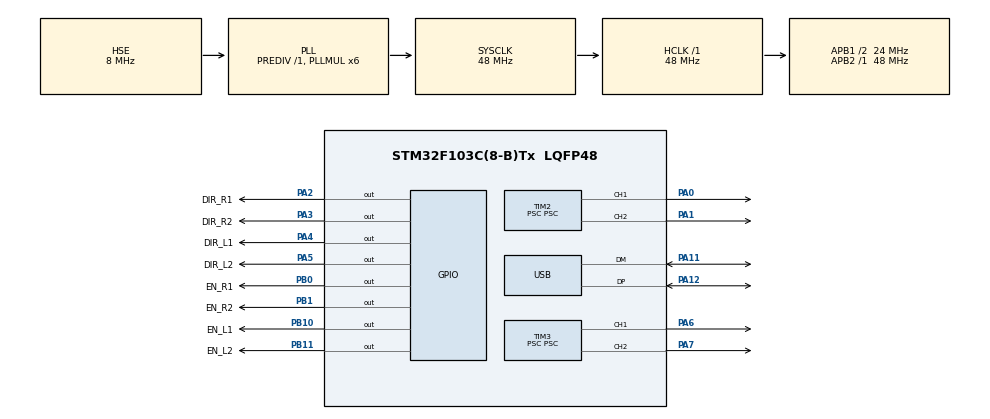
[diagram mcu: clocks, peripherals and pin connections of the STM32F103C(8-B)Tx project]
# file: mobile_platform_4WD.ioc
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Mcu.Family=STM32F1
Mcu.Name=STM32F103C(8-B)Tx
Mcu.Package=LQFP48
Mcu.UserConstants=PSC,4799;ARR_2,1499;ARR_3,1499
NVIC.PriorityGroup=NVIC_PRIORITYGROUP_4
NVIC.USB_LP_CAN1_RX0_IRQn=true\:0\:0\:false\:false\:true\:false\:true\:true
PA0-WKUP.Signal=S_TIM2_CH1_ETR
PA1.Signal=S_TIM2_CH2
PA11.Mode=Device
PA11.Signal=USB_DM
PA12.Mode=Device
PA12.Signal=USB_DP
PA13.Mode=Serial_Wire
PA13.Signal=SYS_JTMS-SWDIO
PA14.Mode=Serial_Wire
PA14.Signal=SYS_JTCK-SWCLK
PA2.GPIO_Label=DIR_R1
PA2.Signal=GPIO_Output
PA3.GPIO_Label=DIR_R2
PA3.Signal=GPIO_Output
PA4.GPIO_Label=DIR_L1
PA4.Signal=GPIO_Output
PA5.GPIO_Label=DIR_L2
PA5.Signal=GPIO_Output
PA6.Signal=S_TIM3_CH1
PA7.Signal=S_TIM3_CH2
PB0.GPIO_Label=EN_R1
PB0.PinState=GPIO_PIN_SET
PB0.Signal=GPIO_Output
PB1.GPIO_Label=EN_R2
PB1.PinState=GPIO_PIN_SET
PB1.Signal=GPIO_Output
PB10.GPIO_Label=EN_L1
PB10.PinState=GPIO_PIN_SET
PB10.Signal=GPIO_Output
PB11.GPIO_Label=EN_L2
PB11.PinState=GPIO_PIN_SET
PB11.Signal=GPIO_Output
PD0-OSC_IN.Mode=HSE-External-Oscillator
PD0-OSC_IN.Signal=RCC_OSC_IN
PD1-OSC_OUT.Mode=HSE-External-Oscillator
PD1-OSC_OUT.Signal=RCC_OSC_OUT
ProjectManager.HeapSize=0x200
ProjectManager.StackSize=0x400
ProjectManager.TargetToolchain=STM32CubeIDE
RCC.AHBFreq_Value=48000000
RCC.APB1CLKDivider=RCC_HCLK_DIV2
RCC.APB1Freq_Value=24000000
RCC.APB1TimFreq_Value=48000000
RCC.APB2Freq_Value=48000000
RCC.APB2TimFreq_Value=48000000
RCC.HCLKFreq_Value=48000000
RCC.PLLMUL=RCC_PLL_MUL6
RCC.PLLSourceVirtual=RCC_PLLSOURCE_HSE
RCC.SYSCLKFreq_VALUE=48000000
RCC.SYSCLKSource=RCC_SYSCLKSOURCE_PLLCLK
RCC.USBFreq_Value=48000000
SH.S_TIM2_CH1_ETR.0=TIM2_CH1,Output Compare1 CH1
SH.S_TIM2_CH2.0=TIM2_CH2,Output Compare2 CH2
SH.S_TIM3_CH1.0=TIM3_CH1,Output Compare1 CH1
SH.S_TIM3_CH2.0=TIM3_CH2,Output Compare2 CH2
TIM2.AutoReloadPreload=TIM_AUTORELOAD_PRELOAD_ENABLE
TIM2.Channel-Output\ Compare1\ CH1=TIM_CHANNEL_1
TIM2.Channel-Output\ Compare2\ CH2=TIM_CHANNEL_2
TIM2.OCPolarity_1=TIM_OCPOLARITY_LOW
TIM2.OCPolarity_2=TIM_OCPOLARITY_LOW
TIM2.Period=ARR_2
TIM2.Prescaler=PSC
TIM3.AutoReloadPreload=TIM_AUTORELOAD_PRELOAD_ENABLE
TIM3.Channel-Output\ Compare1\ CH1=TIM_CHANNEL_1
TIM3.Channel-Output\ Compare2\ CH2=TIM_CHANNEL_2
TIM3.OCPolarity_1=TIM_OCPOLARITY_LOW
TIM3.OCPolarity_2=TIM_OCPOLARITY_LOW
TIM3.Period=ARR_3
TIM3.Prescaler=PSC
USB_DEVICE.CLASS_NAME_FS=CUSTOM_HID
USB_DEVICE.PID_CUSTOMHID_FS=22349
USB_DEVICE.PRODUCT_STRING_CUSTOMHID_FS=STM32_vendor
USB_DEVICE.USBD_CUSTOMHID_OUTREPORT_BUF_SIZE=8
USB_DEVICE.USBD_CUSTOM_HID_REPORT_DESC_SIZE=20
USB_DEVICE.VID=1149
USB_DEVICE.VirtualMode=CustomHid
USB_DEVICE.VirtualModeFS=Custom_Hid_FS
VP_USB_DEVICE_VS_USB_DEVICE_CUSTOM_HID_FS.Mode=CUSTOM_HID_FS
board=custom

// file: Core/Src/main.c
/* USER CODE BEGIN Header */
/**
 ******************************************************************************
 * @file           : main.c
 * @brief          : Main program body
 ******************************************************************************
 * @attention
 *
 * Copyright (c) 2024 STMicroelectronics.
 * All rights reserved.
 *
 * This software is licensed under terms that can be found in the LICENSE file
 * in the root directory of this software component.
 * If no LICENSE file comes with this software, it is provided AS-IS.
 *
 ******************************************************************************
 */
/* USER CODE END Header */
#include "main.h"
#include "usb_device.h"

/* USER CODE BEGIN Includes */
#include <stdbool.h>
#include "usbd_customhid.h"
/* USER CODE END Includes */

TIM_HandleTypeDef htim2;
TIM_HandleTypeDef htim3;

/* USER CODE BEGIN PV */
int16_t leftX;
int16_t leftY;
int16_t rightX;
int16_t rightY;
extern volatile uint8_t dataToReceive[8];
extern volatile bool isReceived;

// Направление движения, двигатели на каждой стороне объединены
// Левая сторона, по умолчанию движение вперёд
bool dirLeft = true;
// Правая сторона, по умолчанию движение вперёд
bool dirRight = true;

uint16_t new_arr;
/* USER CODE END PV */

void SystemClock_Config(void);
static void MX_GPIO_Init(void);
static void MX_TIM3_Init(void);
static void MX_TIM2_Init(void);

int main(void)
{

  /* MCU Configuration--------------------------------------------------------*/

  /* Reset of all peripherals, Initializes the Flash interface and the Systick. */
  HAL_Init();

  /* Configure the system clock */
  SystemClock_Config();

  /* Initialize all configured peripherals */
  MX_GPIO_Init();
  MX_TIM3_Init();
  MX_TIM2_Init();
  MX_USB_DEVICE_Init();
  /* USER CODE BEGIN 2 */
  HAL_TIM_OC_Start(&htim2, TIM_CHANNEL_1);
  HAL_TIM_OC_Start(&htim2, TIM_CHANNEL_2);
  HAL_TIM_OC_Start(&htim3, TIM_CHANNEL_1);
  HAL_TIM_OC_Start(&htim3, TIM_CHANNEL_2);
  /* USER CODE END 2 */

  /* Infinite loop */
  /* USER CODE BEGIN WHILE */
  while (1) {
    if (isReceived) {
      isReceived = false;
      // Преобразуем полученные значения, нам нужны только
      // leftY - движение вперёд/назад и rightX - поворот влево/вправо
      leftX = ((int16_t) dataToReceive[0] << 8) + dataToReceive[1];
      leftY = ((int16_t) dataToReceive[2] << 8) + dataToReceive[3];
      rightX = ((int16_t) dataToReceive[4] << 8) + dataToReceive[5];
      rightY = ((int16_t) dataToReceive[6] << 8) + dataToReceive[7];

      if (leftY > 500 || leftY < -500 || rightX > 500 || rightX < -500) {
        // Включаем двигатели, если любое из переданных значений, по модулю, больше 500
        HAL_GPIO_WritePin(GPIOB, EN_L1_Pin | EN_R1_Pin | EN_L2_Pin | EN_R2_Pin, GPIO_PIN_RESET);
      } else {
        // Отключаем двигатели, если стики в мёртвой зоне
        HAL_GPIO_WritePin(GPIOB, EN_L1_Pin | EN_R1_Pin | EN_L2_Pin | EN_R2_Pin, GPIO_PIN_SET);
      }

      if (leftY > 500) {
        // Обрабатываем движение вперёд
        if (!dirLeft || !dirRight) {
          dirLeft = true;
          dirRight = true;
          // Все четыре двигателя, направление - вперёд
          HAL_GPIO_WritePin(GPIOA, DIR_L1_Pin | DIR_R1_Pin | DIR_L2_Pin | DIR_R2_Pin, GPIO_PIN_SET);
        }
        // Чтобы выровнять скорость, для расчётов берём ARR таймера TIM2
        new_arr = ARR_2 - ((leftY - 500) >> 4);
        TIM2->ARR = new_arr;
        TIM3->ARR = new_arr;
      }

      if (leftY < -500) {
        // Обрабатываем движение назад
        if (dirLeft || dirRight) {
          dirLeft = false;
          dirRight = false;
          // Все четыре двигателя, направление - назад
          HAL_GPIO_WritePin(GPIOA, DIR_L1_Pin | DIR_R1_Pin | DIR_L2_Pin | DIR_R2_Pin, GPIO_PIN_RESET);
        }
        // Чтобы выровнять скорость, для расчётов берём ARR таймера TIM2
        new_arr = ARR_2 + ((leftY + 500) >> 4);
        TIM2->ARR = new_arr;
        TIM3->ARR = new_arr;
      }

      if (rightX > 500) {
        // Обрабатываем движение вправо
        if (!(dirLeft && !dirRight)) {
          dirLeft = true;
          dirRight = false;
          // Двигатели на левой стороне, направление - вперёд
          HAL_GPIO_WritePin(GPIOA, DIR_L1_Pin | DIR_L2_Pin, GPIO_PIN_SET);
          // Двигатели на правой стороне, направление - назад
          HAL_GPIO_WritePin(GPIOA, DIR_R1_Pin | DIR_R2_Pin, GPIO_PIN_RESET);
        }
        // Чтобы выровнять скорость, для расчётов берём ARR таймера TIM2
        new_arr = ARR_2 - ((rightX - 500) >> 4);
        TIM2->ARR = new_arr;
        TIM3->ARR = new_arr;
      }

      if (rightX < -500) {
        // Обрабатываем движение влево
        if (!(!dirLeft && dirRight)) {
          dirLeft = false;
          dirRight = true;
          // Двигатели на левой стороне, направление - назад
          HAL_GPIO_WritePin(GPIOA, DIR_L1_Pin | DIR_L2_Pin, GPIO_PIN_RESET);
          // Двигатели на правой стороне, направление - вперёд
          HAL_GPIO_WritePin(GPIOA, DIR_R1_Pin | DIR_R2_Pin, GPIO_PIN_SET);
        }
        // Чтобы выровнять скорость, для расчётов берём ARR таймера TIM2
        new_arr = ARR_2 + ((rightX + 500) >> 4);
        TIM2->ARR = new_arr;
        TIM3->ARR = new_arr;
      }
    }
    /* USER CODE END WHILE */

  }
}

void SystemClock_Config(void)
{
  RCC_OscInitTypeDef RCC_OscInitStruct = {0};
  RCC_ClkInitTypeDef RCC_ClkInitStruct = {0};
  RCC_PeriphCLKInitTypeDef PeriphClkInit = {0};

  /** Initializes the RCC Oscillators according to the specified parameters
  * in the RCC_OscInitTypeDef structure.
  */
  RCC_OscInitStruct.OscillatorType = RCC_OSCILLATORTYPE_HSE;
  RCC_OscInitStruct.HSEState = RCC_HSE_ON;
  RCC_OscInitStruct.HSEPredivValue = RCC_HSE_PREDIV_DIV1;
  RCC_OscInitStruct.HSIState = RCC_HSI_ON;
  RCC_OscInitStruct.PLL.PLLState = RCC_PLL_ON;
  RCC_OscInitStruct.PLL.PLLSource = RCC_PLLSOURCE_HSE;
  RCC_OscInitStruct.PLL.PLLMUL = RCC_PLL_MUL6;
  if (HAL_RCC_OscConfig(&RCC_OscInitStruct) != HAL_OK)
  {
    Error_Handler();
  }

  /** Initializes the CPU, AHB and APB buses clocks
  */
  RCC_ClkInitStruct.ClockType = RCC_CLOCKTYPE_HCLK|RCC_CLOCKTYPE_SYSCLK
                              |RCC_CLOCKTYPE_PCLK1|RCC_CLOCKTYPE_PCLK2;
  RCC_ClkInitStruct.SYSCLKSource = RCC_SYSCLKSOURCE_PLLCLK;
  RCC_ClkInitStruct.AHBCLKDivider = RCC_SYSCLK_DIV1;
  RCC_ClkInitStruct.APB1CLKDivider = RCC_HCLK_DIV2;
  RCC_ClkInitStruct.APB2CLKDivider = RCC_HCLK_DIV1;

  if (HAL_RCC_ClockConfig(&RCC_ClkInitStruct, FLASH_LATENCY_1) != HAL_OK)
  {
    Error_Handler();
  }
  PeriphClkInit.PeriphClockSelection = RCC_PERIPHCLK_USB;
  PeriphClkInit.UsbClockSelection = RCC_USBCLKSOURCE_PLL;
  if (HAL_RCCEx_PeriphCLKConfig(&PeriphClkInit) != HAL_OK)
  {
    Error_Handler();
  }
}

static void MX_TIM2_Init(void)
{

  TIM_MasterConfigTypeDef sMasterConfig = {0};
  TIM_OC_InitTypeDef sConfigOC = {0};

  htim2.Instance = TIM2;
  htim2.Init.Prescaler = PSC;
  htim2.Init.CounterMode = TIM_COUNTERMODE_UP;
  htim2.Init.Period = ARR_2;
  htim2.Init.ClockDivision = TIM_CLOCKDIVISION_DIV1;
  htim2.Init.AutoReloadPreload = TIM_AUTORELOAD_PRELOAD_ENABLE;
  if (HAL_TIM_OC_Init(&htim2) != HAL_OK)
  {
    Error_Handler();
  }
  sMasterConfig.MasterOutputTrigger = TIM_TRGO_RESET;
  sMasterConfig.MasterSlaveMode = TIM_MASTERSLAVEMODE_DISABLE;
  if (HAL_TIMEx_MasterConfigSynchronization(&htim2, &sMasterConfig) != HAL_OK)
  {
    Error_Handler();
  }
  sConfigOC.OCMode = TIM_OCMODE_TIMING;
  sConfigOC.Pulse = 0;
  sConfigOC.OCPolarity = TIM_OCPOLARITY_LOW;
  sConfigOC.OCFastMode = TIM_OCFAST_DISABLE;
  if (HAL_TIM_OC_ConfigChannel(&htim2, &sConfigOC, TIM_CHANNEL_1) != HAL_OK)
  {
    Error_Handler();
  }
  if (HAL_TIM_OC_ConfigChannel(&htim2, &sConfigOC, TIM_CHANNEL_2) != HAL_OK)
  {
    Error_Handler();
  }
  HAL_TIM_MspPostInit(&htim2);

}

static void MX_TIM3_Init(void)
{

  TIM_MasterConfigTypeDef sMasterConfig = {0};
  TIM_OC_InitTypeDef sConfigOC = {0};

  htim3.Instance = TIM3;
  htim3.Init.Prescaler = PSC;
  htim3.Init.CounterMode = TIM_COUNTERMODE_UP;
  htim3.Init.Period = ARR_3;
  htim3.Init.ClockDivision = TIM_CLOCKDIVISION_DIV1;
  htim3.Init.AutoReloadPreload = TIM_AUTORELOAD_PRELOAD_ENABLE;
  if (HAL_TIM_OC_Init(&htim3) != HAL_OK)
  {
    Error_Handler();
  }
  sMasterConfig.MasterOutputTrigger = TIM_TRGO_RESET;
  sMasterConfig.MasterSlaveMode = TIM_MASTERSLAVEMODE_DISABLE;
  if (HAL_TIMEx_MasterConfigSynchronization(&htim3, &sMasterConfig) != HAL_OK)
  {
    Error_Handler();
  }
  sConfigOC.OCMode = TIM_OCMODE_TIMING;
  sConfigOC.Pulse = 0;
  sConfigOC.OCPolarity = TIM_OCPOLARITY_LOW;
  sConfigOC.OCFastMode = TIM_OCFAST_DISABLE;
  if (HAL_TIM_OC_ConfigChannel(&htim3, &sConfigOC, TIM_CHANNEL_1) != HAL_OK)
  {
    Error_Handler();
  }
  if (HAL_TIM_OC_ConfigChannel(&htim3, &sConfigOC, TIM_CHANNEL_2) != HAL_OK)
  {
    Error_Handler();
  }
  HAL_TIM_MspPostInit(&htim3);

}

static void MX_GPIO_Init(void)
{
  GPIO_InitTypeDef GPIO_InitStruct = {0};

  /* GPIO Ports Clock Enable */
  __HAL_RCC_GPIOD_CLK_ENABLE();
  __HAL_RCC_GPIOA_CLK_ENABLE();
  __HAL_RCC_GPIOB_CLK_ENABLE();

  /*Configure GPIO pin Output Level */
  HAL_GPIO_WritePin(GPIOA, DIR_R1_Pin|DIR_R2_Pin|DIR_L1_Pin|DIR_L2_Pin, GPIO_PIN_RESET);

  /*Configure GPIO pin Output Level */
  HAL_GPIO_WritePin(GPIOB, EN_R1_Pin|EN_R2_Pin|EN_L1_Pin|EN_L2_Pin, GPIO_PIN_SET);

  /*Configure GPIO pins : DIR_R1_Pin DIR_R2_Pin DIR_L1_Pin DIR_L2_Pin */
  GPIO_InitStruct.Pin = DIR_R1_Pin|DIR_R2_Pin|DIR_L1_Pin|DIR_L2_Pin;
  GPIO_InitStruct.Mode = GPIO_MODE_OUTPUT_PP;
  GPIO_InitStruct.Pull = GPIO_NOPULL;
  GPIO_InitStruct.Speed = GPIO_SPEED_FREQ_LOW;
  HAL_GPIO_Init(GPIOA, &GPIO_InitStruct);

  /*Configure GPIO pins : EN_R1_Pin EN_R2_Pin EN_L1_Pin EN_L2_Pin */
  GPIO_InitStruct.Pin = EN_R1_Pin|EN_R2_Pin|EN_L1_Pin|EN_L2_Pin;
  GPIO_InitStruct.Mode = GPIO_MODE_OUTPUT_PP;
  GPIO_InitStruct.Pull = GPIO_NOPULL;
  GPIO_InitStruct.Speed = GPIO_SPEED_FREQ_LOW;
  HAL_GPIO_Init(GPIOB, &GPIO_InitStruct);

/* USER CODE BEGIN MX_GPIO_Init_2 */
  // Устанавливаем пин DP как выход
  GPIO_InitStruct.Pin = GPIO_PIN_12;
  GPIO_InitStruct.Mode = GPIO_MODE_OUTPUT_PP;
  GPIO_InitStruct.Speed = GPIO_SPEED_FREQ_LOW;
  HAL_GPIO_Init(GPIOA, &GPIO_InitStruct);
  // Подтягиваем пин DP к GND
  HAL_GPIO_WritePin(GPIOA, GPIO_PIN_12, GPIO_PIN_RESET);
  // Задержка для завершения процессов на хосте
  for (uint16_t i = 0; i < 1000; i++);

  // Переинициализируем пин DP для работы с USB
  GPIO_InitStruct.Mode = GPIO_MODE_INPUT;
  GPIO_InitStruct.Pull = GPIO_NOPULL;
  HAL_GPIO_Init(GPIOA, &GPIO_InitStruct);
  // Задержка для завершения процессов на хосте
  for (uint16_t i = 0; i < 1000; i++);
/* USER CODE END MX_GPIO_Init_2 */
}

void Error_Handler(void)
{
  __disable_irq();
  while (1) {
  }
}
